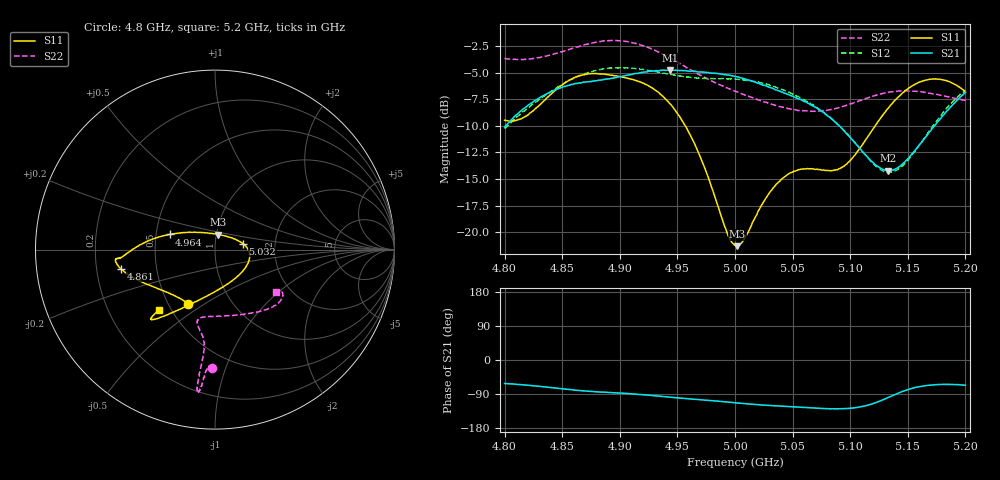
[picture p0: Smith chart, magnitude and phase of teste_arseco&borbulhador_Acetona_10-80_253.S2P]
! Network Analyzer HP8722D
! Hewlett-Packard
! Data name: Linha & Wilkinson
! Saver's name: Rodrigo Anjos
! Comments: Teste da utilização de aquisição
! continua pelo VNA HP8722D
! Time and date: 17/4/2025 16:28
!  Frequency  S11  S21  S12  S22
# HZ  S  MA R 50
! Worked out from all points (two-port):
!   401 points, 4.8 GHz to 5.2 GHz, reference 50 ohm
!   highest |S21| = -4.72 dB at 4.944 GHz (marker M1); lowest = -14.2 dB at 5.133 GHz (marker M2)
!   |S21| within 3 dB of the highest: 4.825 GHz to 5.061 GHz (236.2 MHz wide, 4.78 % of centre); 5.191459 GHz to end of sweep
!   lowest |S11| = -21.3 dB at 5.002 GHz (marker M3), VSWR 1.19, Z = 51 + j8.64 ohm
!   |S11| at or under -10 dB: 4.957 GHz to 5.122 GHz (164.6 MHz wide, 3.27 % of centre)
!   |S22| runs from -8.6 to -1.9 dB; largest |S21 - S12| = 0.87
!   S11 on the Smith chart (normalised r, x): 4.8 GHz: 0.63, -0.43; 4.861 GHz: 0.30, -0.09; 4.964 GHz: 0.59, +0.11; 5.032 GHz: 1.36, +0.09; 5.2 GHz: 0.43, -0.37
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4.8e9  0.3367 -116.5  0.3128 -62.2  0.3068 -176.4  0.6584 -91.3
4.818e9  0.3504 -135.7  0.3858 -66.0  0.376 -176.0  0.6512 -92.9
4.861e9  0.5358 -168.6  0.5009 -79.6  0.5345 -179.4  0.7395 -95.4
4.867e9  0.5489 -170.8  0.507 -81.2  0.5524 179.5  0.7573 -95.6
4.899e9  0.5411 -175.0  0.5383 -87.1  0.5938 173.2  0.7974 -96.9
4.934e9  0.4533 179.4  0.5761 -95.5  0.5674 170.2  0.7036 -97.2
4.944e9  0.4004 174.8  0.5809 -98.3  0.5533 170.3  0.6595 -96.9
4.964e9  0.267 161.6  0.5721 -103.5  0.5339 172.3  0.5718 -96.3
4.993e9  0.09975 112.7  0.5497 -110.8  0.5269 174.3  0.4789 -98.8
5e9  0.0864 86.2  0.5417 -113.0  0.5265 174.4  0.4611 -100.1
5.002e9  0.0858 78.3  0.5393 -113.4  0.5253 174.4  0.4578 -100.6
5.032e9  0.158 12.3  0.4769 -120.5  0.4886 173.3  0.4 -103.6
5.048e9  0.1904 -2.9  0.441 -123.1  0.4529 172.6  0.3808 -99.3
5.067e9  0.1987 -23.1  0.395 -126.2  0.4003 172.2  0.3713 -88.7
5.096e9  0.2077 -73.6  0.2946 -128.0  0.2954 174.7  0.3944 -66.1
5.12e9  0.3075 -109.9  0.2119 -114.9  0.2101 -169.9  0.4369 -50.0
5.133e9  0.3833 -120.2  0.1946 -99.0  0.1915 -152.1  0.4551 -43.6
5.134e9  0.3891 -120.9  0.1948 -97.6  0.191 -150.6  0.4566 -43.3
5.148e9  0.4649 -127.3  0.2159 -80.1  0.212 -130.3  0.4632 -38.0
5.167e9  0.5211 -131.7  0.287 -67.1  0.2906 -113.7  0.453 -33.5
5.183e9  0.5182 -133.1  0.3665 -64.3  0.3786 -108.9  0.436 -32.3
5.2e9  0.4584 -133.0  0.4552 -66.7  0.4665 -108.7  0.417 -34.9
